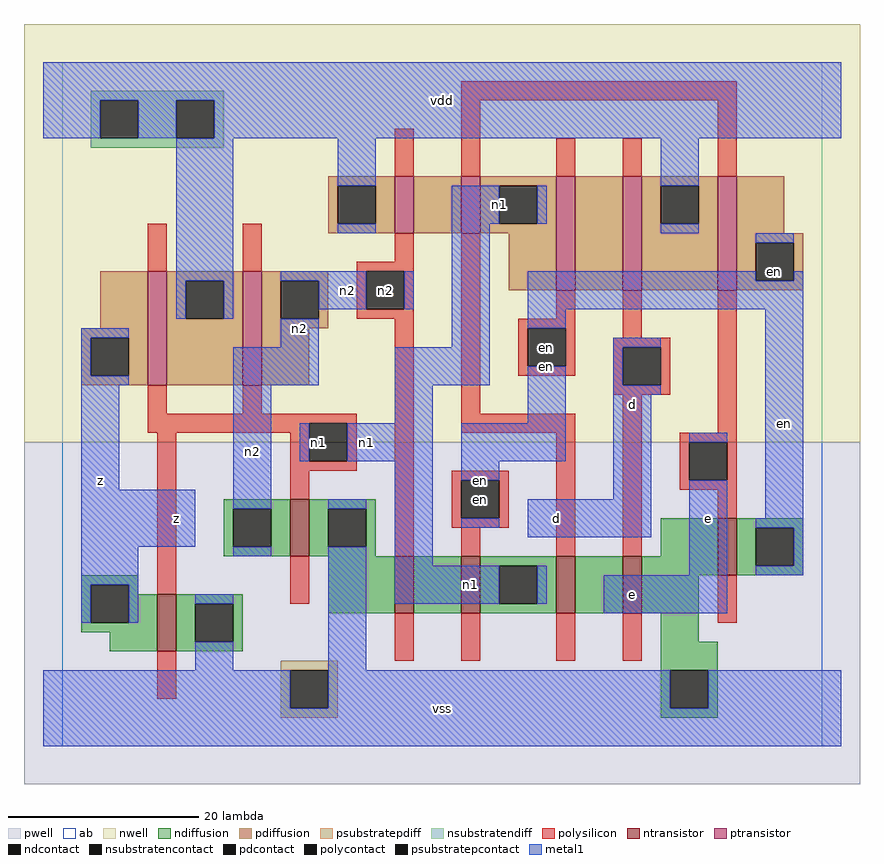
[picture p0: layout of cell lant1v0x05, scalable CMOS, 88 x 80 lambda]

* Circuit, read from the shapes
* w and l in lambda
.subckt lant1v0x05 d e en n1 n2 vdd vss z
M1 vss n1 z vss nfet w=6 l=2
M2 vss n1 n2 vss nfet w=6 l=2
M3 n3 n2 vss vss nfet w=6 l=2
M4 n1 en n3 vss nfet w=6 l=2
M5 n4 e n1 vss nfet w=6 l=2
M6 vss d n4 vss nfet w=6 l=2
M7 en e vss vss nfet w=6 l=2
M8 vdd n1 z vdd pfet w=12 l=2
M9 n2 n1 vdd vdd pfet w=12 l=2
M10 n5 n2 vdd vdd pfet w=6 l=2
M11 n1 e n5 vdd pfet w=6 l=2
M12 n6 en n1 vdd pfet w=12 l=2
M13 vdd d n6 vdd pfet w=12 l=2
M14 en e vdd vdd pfet w=12 l=2
.ends

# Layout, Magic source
magic
tech scmos
<< ab >>
rect 0 0 80 72
<< pwell >>
rect -4 -4 84 32
<< nwell >>
rect -4 32 84 76
<< polysilicon >>
rect 42 68 71 70
rect 35 60 37 65
rect 42 60 44 68
rect 52 60 54 64
rect 59 60 61 64
rect 69 60 71 68
rect 9 50 11 55
rect 19 50 21 55
rect 35 51 37 54
rect 31 50 37 51
rect 31 46 32 50
rect 36 46 37 50
rect 31 45 37 46
rect 9 35 11 38
rect 19 35 21 38
rect 9 34 31 35
rect 9 33 26 34
rect 10 16 12 33
rect 24 30 26 33
rect 30 30 31 34
rect 24 29 31 30
rect 24 26 26 29
rect 35 20 37 45
rect 42 35 44 54
rect 52 45 54 48
rect 48 44 54 45
rect 48 40 49 44
rect 53 40 54 44
rect 59 43 61 48
rect 48 39 54 40
rect 58 42 64 43
rect 58 38 59 42
rect 63 38 64 42
rect 58 37 64 38
rect 42 33 54 35
rect 41 28 47 29
rect 41 24 42 28
rect 46 24 47 28
rect 41 23 47 24
rect 42 20 44 23
rect 52 20 54 33
rect 59 20 61 37
rect 69 33 71 48
rect 65 32 71 33
rect 65 28 66 32
rect 70 28 71 32
rect 65 27 71 28
rect 69 24 71 27
rect 24 15 26 20
rect 10 5 12 10
rect 35 9 37 14
rect 42 9 44 14
rect 52 9 54 14
rect 59 9 61 14
rect 69 13 71 18
<< ndiffusion >>
rect 2 17 8 18
rect 2 13 3 17
rect 7 16 8 17
rect 17 25 24 26
rect 17 21 18 25
rect 22 21 24 25
rect 17 20 24 21
rect 26 25 33 26
rect 26 21 28 25
rect 32 21 33 25
rect 26 20 33 21
rect 63 20 69 24
rect 7 13 10 16
rect 2 12 10 13
rect 5 10 10 12
rect 12 15 19 16
rect 12 11 14 15
rect 18 11 19 15
rect 28 14 35 20
rect 37 14 42 20
rect 44 19 52 20
rect 44 15 46 19
rect 50 15 52 19
rect 44 14 52 15
rect 54 14 59 20
rect 61 18 69 20
rect 71 23 78 24
rect 71 19 73 23
rect 77 19 78 23
rect 71 18 78 19
rect 61 14 67 18
rect 12 10 19 11
rect 63 11 67 14
rect 63 8 69 11
rect 63 4 64 8
rect 68 4 69 8
rect 63 3 69 4
<< pdiffusion >>
rect 28 59 35 60
rect 28 55 29 59
rect 33 55 35 59
rect 28 54 35 55
rect 37 54 42 60
rect 44 59 52 60
rect 44 55 46 59
rect 50 55 52 59
rect 44 54 52 55
rect 4 44 9 50
rect 2 43 9 44
rect 2 39 3 43
rect 7 39 9 43
rect 2 38 9 39
rect 11 49 19 50
rect 11 45 13 49
rect 17 45 19 49
rect 11 38 19 45
rect 21 49 28 50
rect 21 45 23 49
rect 27 45 28 49
rect 21 44 28 45
rect 21 38 26 44
rect 47 48 52 54
rect 54 48 59 60
rect 61 59 69 60
rect 61 55 63 59
rect 67 55 69 59
rect 61 48 69 55
rect 71 54 76 60
rect 71 53 78 54
rect 71 49 73 53
rect 77 49 78 53
rect 71 48 78 49
<< metal1 >>
rect -2 68 82 72
rect -2 64 4 68
rect 8 64 12 68
rect 16 64 82 68
rect 12 49 18 64
rect 29 59 33 64
rect 63 59 67 64
rect 29 54 33 55
rect 41 55 46 59
rect 50 55 51 59
rect 12 45 13 49
rect 17 45 18 49
rect 23 49 32 50
rect 27 46 32 49
rect 36 46 37 50
rect 2 43 7 44
rect 2 39 3 43
rect 23 42 27 45
rect 41 42 45 55
rect 63 54 67 55
rect 73 53 77 54
rect 2 38 7 39
rect 18 38 27 42
rect 35 38 45 42
rect 49 49 73 50
rect 77 49 78 50
rect 49 46 78 49
rect 49 44 53 46
rect 2 27 6 38
rect 2 21 14 27
rect 18 25 22 38
rect 35 34 39 38
rect 49 34 53 40
rect 25 30 26 34
rect 30 30 39 34
rect 2 17 8 21
rect 18 20 22 21
rect 28 25 32 26
rect 2 13 3 17
rect 7 13 8 17
rect 14 15 18 16
rect 14 8 18 11
rect 28 8 32 21
rect 35 19 39 30
rect 42 30 53 34
rect 58 42 63 43
rect 58 38 59 42
rect 58 37 63 38
rect 42 28 46 30
rect 58 26 62 37
rect 42 23 46 24
rect 49 22 62 26
rect 66 32 70 33
rect 35 15 46 19
rect 50 15 51 19
rect 66 18 70 28
rect 74 24 78 46
rect 73 23 78 24
rect 77 19 78 23
rect 73 18 78 19
rect 57 14 70 18
rect -2 4 24 8
rect 28 4 64 8
rect 68 4 82 8
rect -2 0 82 4
<< ntransistor >>
rect 24 20 26 26
rect 10 10 12 16
rect 35 14 37 20
rect 42 14 44 20
rect 52 14 54 20
rect 59 14 61 20
rect 69 18 71 24
<< ptransistor >>
rect 35 54 37 60
rect 42 54 44 60
rect 9 38 11 50
rect 19 38 21 50
rect 52 48 54 60
rect 59 48 61 60
rect 69 48 71 60
<< polycontact >>
rect 32 46 36 50
rect 26 30 30 34
rect 49 40 53 44
rect 59 38 63 42
rect 42 24 46 28
rect 66 28 70 32
<< ndcontact >>
rect 3 13 7 17
rect 18 21 22 25
rect 28 21 32 25
rect 14 11 18 15
rect 46 15 50 19
rect 73 19 77 23
rect 64 4 68 8
<< pdcontact >>
rect 29 55 33 59
rect 46 55 50 59
rect 3 39 7 43
rect 13 45 17 49
rect 23 45 27 49
rect 63 55 67 59
rect 73 49 77 53
<< psubstratepcontact >>
rect 24 4 28 8
<< nsubstratencontact >>
rect 4 64 8 68
rect 12 64 16 68
<< psubstratepdiff >>
rect 23 8 29 9
rect 23 4 24 8
rect 28 4 29 8
rect 23 3 29 4
<< nsubstratendiff >>
rect 3 68 17 69
rect 3 64 4 68
rect 8 64 12 68
rect 16 64 17 68
rect 3 63 17 64
<< labels >>
rlabel polycontact 44 26 44 26 6 en
rlabel polycontact 27 32 27 32 6 n1
rlabel polycontact 34 48 34 48 6 n2
rlabel polycontact 51 42 51 42 6 en
rlabel metal1 4 28 4 28 6 z
rlabel metal1 12 24 12 24 6 z
rlabel metal1 32 32 32 32 6 n1
rlabel metal1 25 44 25 44 6 n2
rlabel metal1 20 31 20 31 6 n2
rlabel metal1 30 48 30 48 6 n2
rlabel metal1 40 4 40 4 6 vss
rlabel metal1 43 17 43 17 6 n1
rlabel metal1 44 28 44 28 6 en
rlabel metal1 52 24 52 24 6 d
rlabel metal1 51 40 51 40 6 en
rlabel metal1 46 57 46 57 6 n1
rlabel metal1 40 68 40 68 6 vdd
rlabel metal1 60 16 60 16 6 e
rlabel metal1 68 24 68 24 6 e
rlabel metal1 60 36 60 36 6 d
rlabel metal1 76 34 76 34 6 en
rlabel pdcontact 75 50 75 50 6 en
<< end >>
